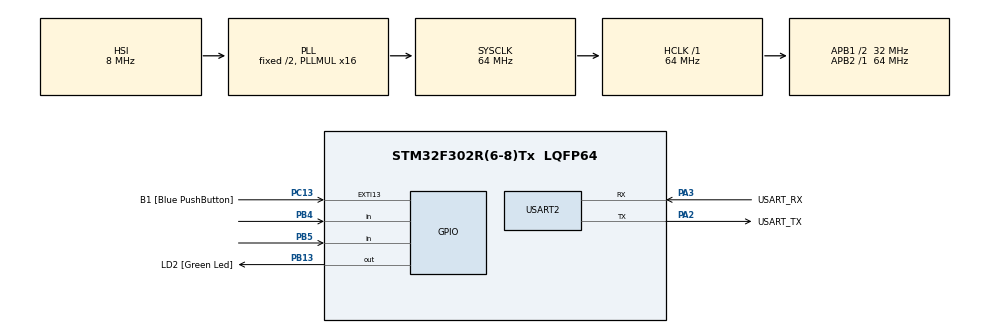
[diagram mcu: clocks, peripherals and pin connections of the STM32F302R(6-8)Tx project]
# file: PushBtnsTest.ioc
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Mcu.Family=STM32F3
Mcu.Name=STM32F302R(6-8)Tx
Mcu.Package=LQFP64
NVIC.PriorityGroup=NVIC_PRIORITYGROUP_0
PA13.GPIO_Label=TMS
PA13.Mode=Trace_Asynchronous_SW
PA13.Signal=SYS_JTMS-SWDIO
PA14.GPIO_Label=TCK
PA14.Mode=Trace_Asynchronous_SW
PA14.Signal=SYS_JTCK-SWCLK
PA2.GPIO_Label=USART_TX
PA2.GPIO_Mode=GPIO_MODE_AF_PP
PA2.GPIO_PuPd=GPIO_NOPULL
PA2.GPIO_Speed=GPIO_SPEED_FREQ_LOW
PA2.Mode=Asynchronous
PA2.Signal=USART2_TX
PA3.GPIO_Label=USART_RX
PA3.GPIO_Mode=GPIO_MODE_AF_PP
PA3.GPIO_PuPd=GPIO_NOPULL
PA3.GPIO_Speed=GPIO_SPEED_FREQ_LOW
PA3.Mode=Asynchronous
PA3.Signal=USART2_RX
PB13.GPIO_Label=LD2 [Green Led]
PB13.Signal=GPIO_Output
PB3.Mode=Trace_Asynchronous_SW
PB3.Signal=SYS_JTDO-TRACESWO
PB4.GPIO_PuPd=GPIO_PULLDOWN
PB4.Signal=GPIO_Input
PB5.GPIO_PuPd=GPIO_PULLDOWN
PB5.Signal=GPIO_Input
PC13.GPIO_Label=B1 [Blue PushButton]
PC13.GPIO_ModeDefaultEXTI=GPIO_MODE_IT_FALLING
PC13.Signal=GPXTI13
PC14\ -\ OSC32_IN.Mode=LSE-External-Oscillator
PC14\ -\ OSC32_IN.Signal=RCC_OSC32_IN
PC15\ -\ OSC32_OUT.Mode=LSE-External-Oscillator
PC15\ -\ OSC32_OUT.Signal=RCC_OSC32_OUT
PF0-OSC_IN.Mode=HSE-External-Clock-Source
PF0-OSC_IN.Signal=RCC_OSC_IN
PF1-OSC_OUT.Signal=RCC_OSC_OUT
ProjectManager.HeapSize=0x200
ProjectManager.StackSize=0x400
ProjectManager.TargetToolchain=STM32CubeIDE
RCC.AHBFreq_Value=64000000
RCC.APB1CLKDivider=RCC_HCLK_DIV2
RCC.APB1Freq_Value=32000000
RCC.APB1TimFreq_Value=64000000
RCC.APB2Freq_Value=64000000
RCC.APB2TimFreq_Value=64000000
RCC.CortexFreq_Value=64000000
RCC.HCLKFreq_Value=64000000
RCC.HSE_VALUE=8000000
RCC.HSI_VALUE=8000000
RCC.PLLM=8
RCC.PLLMUL=RCC_PLL_MUL16
RCC.PLLN=336
RCC.PLLP=RCC_PLLP_DIV4
RCC.PLLQ=7
RCC.RCC_PLLsource_Clock_Source_FROM_HSE=RCC_HSE_PREDIV_DIV2
RCC.SYSCLKFreq_VALUE=64000000
RCC.SYSCLKSourceVirtual=RCC_SYSCLKSOURCE_PLLCLK
RCC.USBFreq_Value=64000000
USART2.VirtualMode-Asynchronous=VM_ASYNC
board=NUCLEO-F302R8

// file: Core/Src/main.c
/* USER CODE BEGIN Header */
/**
  ******************************************************************************
  * @file           : main.c
  * @brief          : Main program body
  ******************************************************************************
  * @attention
  *
  * Copyright (c) 2026 STMicroelectronics.
  * All rights reserved.
  *
  * This software is licensed under terms that can be found in the LICENSE file
  * in the root directory of this software component.
  * If no LICENSE file comes with this software, it is provided AS-IS.
  *
  ******************************************************************************
  */
/* USER CODE END Header */
#include "main.h"

UART_HandleTypeDef huart2;

void SystemClock_Config(void);
static void MX_GPIO_Init(void);
static void MX_USART2_UART_Init(void);

/* USER CODE BEGIN 0 */
int _write(int file, char *ptr, int len)
{
    for(int DataIdx = 0; DataIdx < len; DataIdx++)
    {
        ITM_SendChar(*ptr++);
    }
    return len;
}
/* USER CODE END 0 */

int main(void)
{

  /* MCU Configuration--------------------------------------------------------*/

  /* Reset of all peripherals, Initializes the Flash interface and the Systick. */
  HAL_Init();

  /* Configure the system clock */
  SystemClock_Config();

  /* Initialize all configured peripherals */
  MX_GPIO_Init();
  MX_USART2_UART_Init();
  /* USER CODE BEGIN 2 */
  int speed = 0;
  /* USER CODE END 2 */

  /* Infinite loop */
  while (1)
  {

    /* USER CODE BEGIN 3 */
      // Read buttons
      int accel_pressed = HAL_GPIO_ReadPin(GPIOB, GPIO_PIN_4) == GPIO_PIN_SET;
      int brake_pressed = HAL_GPIO_ReadPin(GPIOB, GPIO_PIN_5) == GPIO_PIN_SET;

      // Update speed based on buttons
      if(accel_pressed && speed < 200) {
          speed += 5;
      }
      else if(brake_pressed && speed > 0) {
          speed = (speed < 10) ? 0 : speed - 10;
      }
      else if(speed > 0) {
          speed -= 1;  // Natural deceleration
      }

      printf("Current Speed: %d \n", speed);
      HAL_Delay(50);  // Consistent 50ms cycle time
  }
  /* USER CODE END 3 */
}

void SystemClock_Config(void)
{
  RCC_OscInitTypeDef RCC_OscInitStruct = {0};
  RCC_ClkInitTypeDef RCC_ClkInitStruct = {0};

  /** Initializes the RCC Oscillators according to the specified parameters
  * in the RCC_OscInitTypeDef structure.
  */
  RCC_OscInitStruct.OscillatorType = RCC_OSCILLATORTYPE_HSI;
  RCC_OscInitStruct.HSIState = RCC_HSI_ON;
  RCC_OscInitStruct.HSICalibrationValue = RCC_HSICALIBRATION_DEFAULT;
  RCC_OscInitStruct.PLL.PLLState = RCC_PLL_ON;
  RCC_OscInitStruct.PLL.PLLSource = RCC_PLLSOURCE_HSI;
  RCC_OscInitStruct.PLL.PLLMUL = RCC_PLL_MUL16;
  if (HAL_RCC_OscConfig(&RCC_OscInitStruct) != HAL_OK)
  {
    Error_Handler();
  }

  /** Initializes the CPU, AHB and APB buses clocks
  */
  RCC_ClkInitStruct.ClockType = RCC_CLOCKTYPE_HCLK|RCC_CLOCKTYPE_SYSCLK
                              |RCC_CLOCKTYPE_PCLK1|RCC_CLOCKTYPE_PCLK2;
  RCC_ClkInitStruct.SYSCLKSource = RCC_SYSCLKSOURCE_PLLCLK;
  RCC_ClkInitStruct.AHBCLKDivider = RCC_SYSCLK_DIV1;
  RCC_ClkInitStruct.APB1CLKDivider = RCC_HCLK_DIV2;
  RCC_ClkInitStruct.APB2CLKDivider = RCC_HCLK_DIV1;

  if (HAL_RCC_ClockConfig(&RCC_ClkInitStruct, FLASH_LATENCY_2) != HAL_OK)
  {
    Error_Handler();
  }
}

static void MX_USART2_UART_Init(void)
{

  huart2.Instance = USART2;
  huart2.Init.BaudRate = 38400;
  huart2.Init.WordLength = UART_WORDLENGTH_8B;
  huart2.Init.StopBits = UART_STOPBITS_1;
  huart2.Init.Parity = UART_PARITY_NONE;
  huart2.Init.Mode = UART_MODE_TX_RX;
  huart2.Init.HwFlowCtl = UART_HWCONTROL_NONE;
  huart2.Init.OverSampling = UART_OVERSAMPLING_16;
  huart2.Init.OneBitSampling = UART_ONE_BIT_SAMPLE_DISABLE;
  huart2.AdvancedInit.AdvFeatureInit = UART_ADVFEATURE_NO_INIT;
  if (HAL_UART_Init(&huart2) != HAL_OK)
  {
    Error_Handler();
  }

}

static void MX_GPIO_Init(void)
{
  GPIO_InitTypeDef GPIO_InitStruct = {0};

  /* GPIO Ports Clock Enable */
  __HAL_RCC_GPIOC_CLK_ENABLE();
  __HAL_RCC_GPIOF_CLK_ENABLE();
  __HAL_RCC_GPIOA_CLK_ENABLE();
  __HAL_RCC_GPIOB_CLK_ENABLE();

  /*Configure GPIO pin Output Level */
  HAL_GPIO_WritePin(LD2_GPIO_Port, LD2_Pin, GPIO_PIN_RESET);

  /*Configure GPIO pin : B1_Pin */
  GPIO_InitStruct.Pin = B1_Pin;
  GPIO_InitStruct.Mode = GPIO_MODE_IT_FALLING;
  GPIO_InitStruct.Pull = GPIO_NOPULL;
  HAL_GPIO_Init(B1_GPIO_Port, &GPIO_InitStruct);

  /*Configure GPIO pin : LD2_Pin */
  GPIO_InitStruct.Pin = LD2_Pin;
  GPIO_InitStruct.Mode = GPIO_MODE_OUTPUT_PP;
  GPIO_InitStruct.Pull = GPIO_NOPULL;
  GPIO_InitStruct.Speed = GPIO_SPEED_FREQ_LOW;
  HAL_GPIO_Init(LD2_GPIO_Port, &GPIO_InitStruct);

  /*Configure GPIO pins : PB4 PB5 */
  GPIO_InitStruct.Pin = GPIO_PIN_4|GPIO_PIN_5;
  GPIO_InitStruct.Mode = GPIO_MODE_INPUT;
  GPIO_InitStruct.Pull = GPIO_PULLDOWN;
  HAL_GPIO_Init(GPIOB, &GPIO_InitStruct);

}

void Error_Handler(void)
{
  __disable_irq();
  while (1)
  {
  }
}
